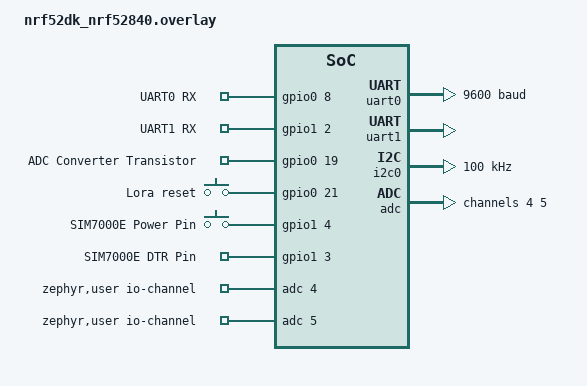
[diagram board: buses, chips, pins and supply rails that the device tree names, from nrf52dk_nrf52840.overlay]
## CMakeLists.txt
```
cmake_minimum_required(VERSION 3.20.0)

find_package(Zephyr REQUIRED HINTS $ENV{ZEPHYR_BASE})

project(echo_bot)

target_include_directories(app PRIVATE "include")

# main

target_sources(app PRIVATE 
    "src/main.cpp")

# lora sources
target_sources(app PRIVATE
    "src/at/rylr433/rylr433.cpp"
    "include/at/rylr433/rylr433.hpp")

# uart sources

if (CONFIG_UART_0_ENABLE OR CONFIG_UART_1_ENABLE)
    target_sources(app PRIVATE 
        "include/uart/uart.hpp"
        "src/uart/uart.cpp")
endif()

if(CONFIG_UART_0_ENABLE)
    target_sources(app PRIVATE 
        "src/uart/uart0.cpp" 
        "include/uart/uart0.hpp")
endif()

if(CONFIG_UART_1_ENABLE)
    target_sources(app PRIVATE 
        "src/uart/uart1.cpp" 
        "include/uart/uart1.hpp")
endif()

# iic sources

target_sources(app PRIVATE 
    "include/iic/time.hpp"
    "src/iic/time.cpp"

    "include/iic/bus.hpp"
    "src/iic/bus.cpp")


# gpio sources

target_sources(app PRIVATE 
    "include/gpio/adc.hpp"
    "src/gpio/adc.cpp"

    "include/gpio/gpio.hpp"
    "src/gpio/gpio.cpp")

# common at sources

target_sources(app PRIVATE 
    "include/at/common.hpp"

    "include/at/prv.hpp"
    "src/at/prv.cpp")

# sim7000e sources

target_sources(app PRIVATE 
    "include/at/sim7000e/common.hpp"
    "src/at/sim7000e/common.cpp"

    "include/at/sim7000e/https.hpp"
    "src/at/sim7000e/https.cpp"
    
    "include/at/sim7000e/network_configuration.hpp"
    "src/at/sim7000e/network_configuration.cpp"
    
    "include/at/sim7000e/power.hpp"
    "src/at/sim7000e/power.cpp"
    
    "include/at/sim7000e/time.hpp"
    "src/at/sim7000e/time.cpp")

# data handling sources

target_sources(app PRIVATE 
    "include/data/collection.hpp"
    "src/data/collection.cpp"

    "include/data/reception.hpp"
    "src/data/reception.cpp"

    "include/data/transmission.hpp"
    "src/data/transmission.cpp"

    "include/data/storage.hpp"
    "src/data/storage.cpp")
```

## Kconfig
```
# Copyright (c) 2021 Nordic Semiconductor ASA
# SPDX-License-Identifier: Apache-2.0

mainmenu "Gateway Configuration"

config UART_0_ENABLE
    bool "Enable UART 0 driver"
    depends on UART_INTERRUPT_DRIVEN && UART_USE_RUNTIME_CONFIGURE && GPIO && PM_DEVICE && POLL
    help
      Enable the UART 0 driver for communication. This option is only
      available if both interrupt-driven UART and runtime configuration
      for UART are enabled.

config UART_1_ENABLE
    bool "Enable UART 1 driver"
    depends on UART_INTERRUPT_DRIVEN && UART_USE_RUNTIME_CONFIGURE && GPIO && PM_DEVICE && POLL
    help
      Enable the UART 1 driver for communication. This option is only
      available if both interrupt-driven UART and runtime configuration
      for UART are enabled.


config REBOOT_SIM7000E_ON_RESET
  bool "Select this to reset the SIM7000E module on reboot"
  help
    Select this option to reset the SIM7000E module on reboot. This option should be turned of in production.

config SEMCON_DEMO_MODE
  bool "Select this to enable the SEMCON demo mode"
  help
    Select this option to enable the SEMCON demo mode. This option should be turned of in production.

source "Kconfig.zephyr"
```

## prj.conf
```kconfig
# configure language supprot and functions
CONFIG_CPP=y
CONFIG_REQUIRES_FULL_LIBCPP=y
CONFIG_STD_CPP20=y
CONFIG_REQUIRES_FULL_LIBC=y

CONFIG_SERIAL=y

# configuring uart
CONFIG_UART_0_ENABLE=y
CONFIG_UART_1_ENABLE=y
CONFIG_UART_INTERRUPT_DRIVEN=y
CONFIG_UART_USE_RUNTIME_CONFIGURE=y

# configuring sim reboot on reset
CONFIG_REBOOT_SIM7000E_ON_RESET=y
CONFIG_SEMCON_DEMO_MODE=n

# retention
# CONFIG_APP_USE_NRF_RETENTION=y
# CONFIG_APP_USE_RETAINED_MEM=y
# CONFIG_CRC=y

# enable uart for measuring power consumption and waking modules up
CONFIG_GPIO=y
CONFIG_ADC=y
CONFIG_PM_DEVICE=y
# CONFIG_POWEROFF=y

# enable i2c for communication with real time clock
CONFIG_I2C=y

# we enable poll for working with uart
# this allows for efficient use of message queues
CONFIG_POLL=y

# configure the default stack size
# wee store most data on the stack
CONFIG_MAIN_STACK_SIZE=4096

# configure available time functions
CONFIG_POSIX_CLOCK=y

# configure logging via rtt
CONFIG_LOG=y
CONFIG_LOG_BACKEND_RTT=y
CONFIG_LOG_MODE_DEFERRED=y
CONFIG_LOG_PRINTK=y
CONFIG_USE_SEGGER_RTT=y
CONFIG_UART_CONSOLE=n
```

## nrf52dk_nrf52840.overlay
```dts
&uart0 {
    status = "okay";
    current-speed = <9600>;
};

&uart1 {
    status = "okay";
};

&gpio0 {
    status = "okay";
};

&gpio1 {
    status = "okay";
};

&i2c0 {
    compatible = "nordic,nrf-twim";
    clock-frequency = <100000>;
    status = "okay";
};


&adc {
    status = "okay";  // Ensure the ADC device is enabled
    #address-cells = <1>;
    #size-cells = <0>;

    channel@4 {
        reg = <4>;
        zephyr,gain = "ADC_GAIN_1_6";
        zephyr,reference = "ADC_REF_INTERNAL";
        zephyr,acquisition-time = <ADC_ACQ_TIME_DEFAULT>;
        zephyr,input-positive = <NRF_SAADC_AIN4>; // Updated for P0.28
        zephyr,resolution = <12>;
    };
    channel@5 {
        reg = <5>;
        zephyr,gain = "ADC_GAIN_1_6";
        zephyr,reference = "ADC_REF_INTERNAL";
        zephyr,acquisition-time = <ADC_ACQ_TIME_DEFAULT>;
        zephyr,input-positive = <NRF_SAADC_AIN5>;  // Updated for P0.29
        zephyr,resolution = <12>;
    };
};

/{
    custom_gpios {

        compatible = "gpio-keys";

        uart0_rx: uart0_rx {
            gpios = <&gpio0 8 GPIO_ACTIVE_HIGH>;
            label = "UART0 RX";
        };

        uart1_rx: uart1_rx {
            gpios = <&gpio1 2 0>;
            label = "UART1 RX";
        };

        adc_converter_transistor: adc_converter_transistor {
            gpios = <&gpio0 19 GPIO_ACTIVE_HIGH>;
            label = "ADC Converter Transistor";
        };

        lora_reset: lora_reset {
            gpios = <&gpio0 21 GPIO_ACTIVE_HIGH>;
            label = "Lora reset";
        };

        sim7000e_power: sim7000e_0 {
            gpios = <&gpio1 4 GPIO_ACTIVE_HIGH>;
            label = "SIM7000E Power Pin";
        };

        sim7000e_dtr: sim7000e_1 {
            gpios = <&gpio1 3 GPIO_ACTIVE_HIGH>;
            label = "SIM7000E DTR Pin";
        };
    };

    aliases {
        uart0rx = &uart0_rx;
        uart1rx = &uart1_rx;
        adcconvertertransistor = &adc_converter_transistor;
        lorareset = &lora_reset;
        sim7000epower = &sim7000e_power;
        sim7000edtr = &sim7000e_dtr;
    };

    zephyr,user {
        io-channels = <&adc 4>, <&adc 5>;
    };
};
&uart1_default {
    group2 {
        psels = <NRF_PSEL(UART_TX, 1, 1)>;
    };

    group1 {
        psels = <NRF_PSEL(UART_RX, 1, 2)>;
    };
};

&uart0_default {
    group2 {
        psels = <NRF_PSEL(UART_RX, 0, 8)>;
    };

    group1 {
        psels = <NRF_PSEL(UART_TX, 0, 6)>;
    };
};

&i2c0_default {
    group1 {
        psels = <NRF_PSEL(TWIM_SDA, 0, 30)>, <NRF_PSEL(TWIM_SCL, 0, 31)>;
    };
};

&spi1 {
    status = "disabled";
};

&spi3 {
    status = "disabled";
};
```

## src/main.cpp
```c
#include <zephyr/kernel.h>
#include <zephyr/logging/log.h>

#include "gpio/gpio.hpp"
#include "gpio/adc.hpp"

#include "iic/bus.hpp"
#include "iic/time.hpp"

#include "uart/uart0.hpp"
#include "uart/uart1.hpp"

#include "at/sim7000e/common.hpp"
#include "at/rylr433/rylr433.hpp"

#include "data/collection.hpp"
#include "data/transmission.hpp"
#include "data/reception.hpp"

LOG_MODULE_REGISTER(main);

int initialize();

int main(void)
{
    // first we need to initialize uart, iic, and gpio
    if (initialize() != 0)
    {
        LOG_ERR("Initialization failed");
        return -1;
    }

    // start different threads for:
    // * data collection (periodically check battery voltage, and soil humidity)
    // * data transmission (send data periodically to the server via the sim7000e)
    // * data reception (wait for data from the lora modules and store them in ram)

    data::collection::start_thread();
    data::transmission::start_thread();
    data::reception::start_thread();

    while (1)
        k_sleep(K_FOREVER);

    return 0;
}

int initialize()
{
    if (uart::uart0::uart0_driver.uart_init() != 0)
    {
        LOG_ERR("UART0 initialization failed");
        return -1;
    }

    if (uart::uart1::uart1_driver.uart_init() != 0)
    {
        LOG_ERR("UART1 initialization failed");
        return -1;
    }

    if (iic::bus::setup() != 0)
    {
        LOG_ERR("IIC initialization failed");
        return -1;
    }

    if (gpio::init() != 0)
    {
        LOG_ERR("GPIO initialization failed");
        return -1;
    }

    if(gpio::adc::setup() != 0)
    {
        LOG_ERR("ADC initialization failed");
        return -1;
    }

    // then we initalize the different modules
    // check if the DS1307 is connected
    struct tm time = iic::time::get_current_time();

    if (time.tm_year == 0 && time.tm_mon == 0 && time.tm_mday == 0)
    {
        LOG_ERR("DS1307 not found");
        return -1;
    }

    LOG_INF("DS1307 found");
    LOG_INF("Current time: %d-%d-%d %d:%d:%d", time.tm_year + 1900, time.tm_mon, time.tm_mday, time.tm_hour, time.tm_min, time.tm_sec);

    // check if the SIM7000E is connected
    if (at::commands::sim7000e::configure() != at::commands::OK)
    {
        LOG_ERR("SIM7000E not found");
        return -1;
    }

    LOG_INF("SIM7000E found");

    // check if the lora module is present
    // todo: implement this

    at::commands::rylr433::init_lora_module();
    // initialisation done

    return 0;
}
```
